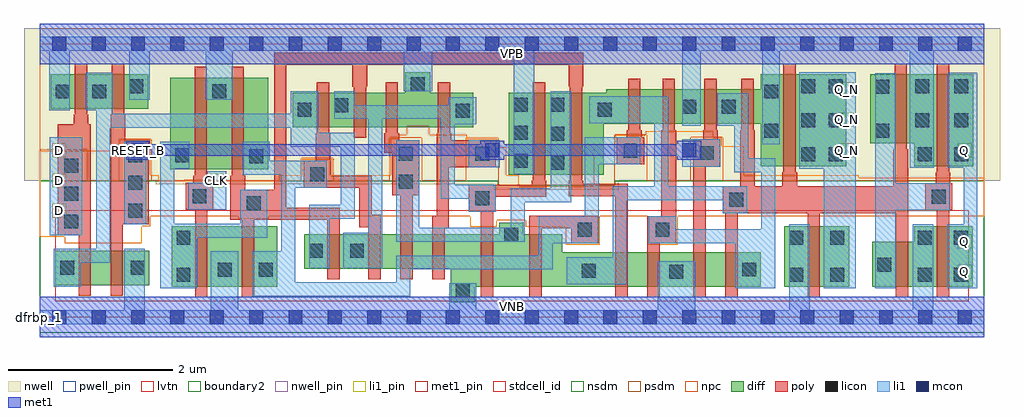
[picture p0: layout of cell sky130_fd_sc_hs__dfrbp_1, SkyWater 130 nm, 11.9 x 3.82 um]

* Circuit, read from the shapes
.subckt sky130_fd_sc_hs__dfrbp_1 CLK D Q Q_N RESET_B VGND VNB VPB VPWR
XM1 n1 D n2 VNB sky130_fd_pr__nfet_01v8_lvt w=0.42 l=0.15
XM2 VGND RESET_B n1 VNB sky130_fd_pr__nfet_01v8_lvt w=0.42 l=0.15
XM3 VGND CLK n3 VNB sky130_fd_pr__nfet_01v8_lvt w=0.74 l=0.15
XM4 n4 n3 VGND VNB sky130_fd_pr__nfet_01v8_lvt w=0.74 l=0.15
XM5 n5 n3 n2 VNB sky130_fd_pr__nfet_01v8_lvt w=0.42 l=0.15
XM6 n6 n4 n5 VNB sky130_fd_pr__nfet_01v8_lvt w=0.42 l=0.15
XM7 n7 n8 n6 VNB sky130_fd_pr__nfet_01v8_lvt w=0.42 l=0.15
XM8 VGND RESET_B n7 VNB sky130_fd_pr__nfet_01v8_lvt w=0.42 l=0.15
XM9 n8 n5 VGND VNB sky130_fd_pr__nfet_01v8_lvt w=0.64 l=0.15
XM10 n9 n4 n8 VNB sky130_fd_pr__nfet_01v8_lvt w=0.64 l=0.15
XM11 n10 n3 n9 VNB sky130_fd_pr__nfet_01v8_lvt w=0.42 l=0.15
XM12 VGND n11 n10 VNB sky130_fd_pr__nfet_01v8_lvt w=0.42 l=0.15
XM13 n12 RESET_B VGND VNB sky130_fd_pr__nfet_01v8_lvt w=0.42 l=0.15
XM14 n11 n9 n12 VNB sky130_fd_pr__nfet_01v8_lvt w=0.42 l=0.15
XM15 Q_N n9 VGND VNB sky130_fd_pr__nfet_01v8_lvt w=0.74 l=0.15
XM16 VGND n9 n13 VNB sky130_fd_pr__nfet_01v8_lvt w=0.55 l=0.15
XM17 Q n13 VGND VNB sky130_fd_pr__nfet_01v8_lvt w=0.74 l=0.15
XM18 n2 D VPWR VPB sky130_fd_pr__pfet_01v8 w=0.42 l=0.15
XM19 VPWR RESET_B n2 VPB sky130_fd_pr__pfet_01v8 w=0.42 l=0.15
XM20 VPWR CLK n3 VPB sky130_fd_pr__pfet_01v8 w=1.12 l=0.15
XM21 n4 n3 VPWR VPB sky130_fd_pr__pfet_01v8 w=1.12 l=0.15
XM22 n5 n4 n2 VPB sky130_fd_pr__pfet_01v8 w=0.42 l=0.15
XM23 n14 n3 n5 VPB sky130_fd_pr__pfet_01v8 w=0.42 l=0.15
XM24 VPWR n8 n14 VPB sky130_fd_pr__pfet_01v8 w=0.42 l=0.15
XM25 n5 RESET_B VPWR VPB sky130_fd_pr__pfet_01v8 w=0.42 l=0.15
XM26 n8 n5 VPWR VPB sky130_fd_pr__pfet_01v8 w=1 l=0.15
XM27 n9 n3 n8 VPB sky130_fd_pr__pfet_01v8 w=1 l=0.15
XM28 n15 n4 n9 VPB sky130_fd_pr__pfet_01v8 w=0.42 l=0.15
XM29 VPWR n11 n15 VPB sky130_fd_pr__pfet_01v8 w=0.42 l=0.15
XM30 n11 RESET_B VPWR VPB sky130_fd_pr__pfet_01v8 w=0.42 l=0.15
XM31 VPWR n9 n11 VPB sky130_fd_pr__pfet_01v8 w=0.42 l=0.15
XM32 Q_N n9 VPWR VPB sky130_fd_pr__pfet_01v8 w=1.12 l=0.15
XM33 VPWR n9 n13 VPB sky130_fd_pr__pfet_01v8 w=0.84 l=0.15
XM34 Q n13 VPWR VPB sky130_fd_pr__pfet_01v8 w=1.12 l=0.15
.ends

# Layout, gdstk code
import gdstk
lib = gdstk.Library(unit=1e-6, precision=1e-09)
def R(c, l, rs):  # rectangles x0, y0, x1, y1
    for r in rs: c.add(gdstk.rectangle(r[:2], r[2:], *l))
def A(c, l, x, y, w, h, nx, ny, dx, dy):  # array of equal rectangles
    R(c, l, [(x+i*dx, y+j*dy, x+i*dx+w, y+j*dy+h) for i in range(nx) for j in range(ny)])
def P(c, l, *ps):  # polygons
    for p in ps: c.add(gdstk.Polygon(p, *l))
nwell_pin = (64, 16)
nwell = (64, 20)
diff = (65, 20)
poly = (66, 20)
licon = (66, 44)
li1_pin = (67, 16)
li1 = (67, 20)
mcon = (67, 44)
met1_pin = (68, 16)
met1 = (68, 20)
stdcell_id = (81, 4)
nsdm = (93, 44)
psdm = (94, 20)
npc = (95, 20)
pwell_pin = (122, 16)
lvtn = (125, 44)
boundary2 = (236, 0)

sky130_fd_sc_hs__dfrbp_1 = lib.new_cell('sky130_fd_sc_hs__dfrbp_1')
R(sky130_fd_sc_hs__dfrbp_1, nwell_pin, [(0,3.085,11.52,3.33)])
P(sky130_fd_sc_hs__dfrbp_1, nwell, [(11.71,3.52),(-0.19,3.52),(-0.19,1.66),(1.415,1.66),(1.415,1.62),(5.54,1.62),(5.54,1.555),(7.06,1.555),(7.06,1.66),(11.71,1.66)])
R(sky130_fd_sc_hs__dfrbp_1, diff, [(1.61,0.37,2.9,1.11), (9.08,0.37,9.87,1.11), (0.19,0.39,1.34,0.81), (1.595,1.8,2.785,2.92), (0.135,2.54,1.325,2.96)])
P(sky130_fd_sc_hs__dfrbp_1, diff, [(5.285,2.735),(4.765,2.735),(4.765,2.985),(4.46,2.985),(4.46,2.735),(3.085,2.735),(3.085,2.315),(5.285,2.315)],
  [(8.795,0.79),(6.37,0.79),(6.37,1.01),(5.895,1.01),(5.895,1.15),(5.605,1.15),(5.605,1.01),(3.225,1.01),(3.225,0.59),(5.015,0.59),(5.015,0.18),(5.305,0.18),(5.305,0.37),(8.795,0.37)],
  [(9.835,2.96),(8.795,2.96),(8.795,2.775),(6.91,2.775),(6.91,2.735),(5.72,2.735),(5.72,1.735),(6.88,1.735),(6.88,2.355),(8.795,2.355),(8.795,1.84),(9.835,1.84)],
  [(11.375,1.11),(10.665,1.11),(10.665,0.92),(10.155,0.92),(10.155,0.37),(11.375,0.37)],
  [(11.385,2.96),(10.13,2.96),(10.13,2.12),(10.665,2.12),(10.665,1.84),(11.385,1.84)])
P(sky130_fd_sc_hs__dfrbp_1, poly, [(11.13,1.63),(11.105,1.63),(11.105,1.765),(11.09,1.765),(11.09,3.09),(10.94,3.09),(10.94,1.765),(10.925,1.765),(10.925,1.63),(10.8,1.63),(10.8,1.3),(10.94,1.3),(10.94,0.24),(11.09,0.24),(11.09,1.3),(11.13,1.3)],
  [(10.59,2.045),(10.575,2.045),(10.575,3.09),(10.425,3.09),(10.425,2.045),(10.41,2.045),(10.41,1.595),(9.235,1.595),(9.235,1.765),(9.22,1.765),(9.22,3.09),(9.07,3.09),(9.07,1.765),(9.055,1.765),(9.055,1.595),(8.72,1.595),(8.72,2.28),(8.705,2.28),(8.705,2.905),(8.555,2.905),(8.555,2.28),(8.54,2.28),(8.54,1.595),(8.33,1.595),(8.33,1.265),(8.36,1.265),(8.36,0.24),(8.51,0.24),(8.51,1.265),(9.365,1.265),(9.365,0.24),(9.515,0.24),(9.515,1.265),(10.44,1.265),(10.44,0.24),(10.59,0.24)],
  [(8.3,2.165),(8.27,2.165),(8.27,2.28),(8.255,2.28),(8.255,2.905),(8.105,2.905),(8.105,2.28),(8.09,2.28),(8.09,2.165),(7.97,2.165),(7.97,0.24),(8.12,0.24),(8.12,1.835),(8.3,1.835)],
  [(7.76,2.28),(7.745,2.28),(7.745,2.905),(7.595,2.905),(7.595,2.28),(7.58,2.28),(7.58,1.23),(7.41,1.23),(7.41,0.24),(7.56,0.24),(7.56,0.9),(7.76,0.9)],
  [(7.37,2.195),(7.34,2.195),(7.34,2.28),(7.325,2.28),(7.325,2.905),(7.175,2.905),(7.175,2.28),(7.16,2.28),(7.16,2.195),(7.04,2.195),(7.04,1.865),(7.37,1.865)],
  [(7.17,1.625),(6.63,1.625),(6.63,1.66),(6.615,1.66),(6.615,2.81),(6.63,2.81),(6.63,3.225),(2.86,3.225),(2.86,1.55),(2.505,1.55),(2.505,1.725),(2.49,1.725),(2.49,3.05),(2.34,3.05),(2.34,1.725),(2.325,1.725),(2.325,1.185),(2.465,1.185),(2.465,0.24),(2.615,0.24),(2.615,1.185),(3.51,1.185),(3.51,0.46),(3.66,0.46),(3.66,1.335),(3.01,1.335),(3.01,3.075),(3.815,3.075),(3.815,2.81),(3.83,2.81),(3.83,2.185),(3.98,2.185),(3.98,2.81),(3.995,2.81),(3.995,3.075),(6.45,3.075),(6.45,2.81),(6.465,2.81),(6.465,1.66),(6.45,1.66),(6.45,1.475),(7.02,1.475),(7.02,0.24),(7.17,0.24)],
  [(6.81,1.235),(5.97,1.235),(5.97,0.24),(6.12,0.24),(6.12,1.085),(6.48,1.085),(6.48,0.9),(6.81,0.9)],
  [(6.18,1.66),(6.165,1.66),(6.165,2.865),(6.015,2.865),(6.015,1.66),(6,1.66),(6,1.615),(5.23,1.615),(5.23,1.285),(5.38,1.285),(5.38,0.24),(5.53,0.24),(5.53,1.285),(5.56,1.285),(5.56,1.465),(6.18,1.465)],
  [(5.56,2.155),(5.02,2.155),(5.02,2.24),(5.005,2.24),(5.005,2.865),(4.855,2.865),(4.855,2.24),(4.84,2.24),(4.84,1.235),(4.79,1.235),(4.79,0.46),(4.94,0.46),(4.94,1.085),(4.99,1.085),(4.99,1.825),(5.56,1.825)],
  [(4.63,2.155),(4.385,2.155),(4.385,2.24),(4.37,2.24),(4.37,2.865),(4.22,2.865),(4.22,2.24),(4.205,2.24),(4.205,2.005),(4.3,2.005),(4.3,1.485),(4.4,1.485),(4.4,0.46),(4.55,0.46),(4.55,1.485),(4.63,1.485)],
  [(4.16,1.245),(4.05,1.245),(4.05,1.725),(3.55,1.725),(3.55,1.905),(3.545,1.905),(3.545,2.24),(3.53,2.24),(3.53,2.865),(3.38,2.865),(3.38,2.24),(3.365,2.24),(3.365,1.905),(3.22,1.905),(3.22,1.575),(3.9,1.575),(3.9,1.095),(4.01,1.095),(4.01,0.46),(4.16,0.46)],
  [(2.115,1.64),(2.055,1.64),(2.055,1.725),(2.04,1.725),(2.04,3.05),(1.89,3.05),(1.89,1.725),(1.875,1.725),(1.875,1.64),(1.785,1.64),(1.785,1.31),(1.895,1.31),(1.895,0.24),(2.045,0.24),(2.045,1.31),(2.115,1.31)],
  [(1.33,2.14),(1.045,2.14),(1.045,2.465),(1.03,2.465),(1.03,3.09),(0.88,3.09),(0.88,2.465),(0.865,2.465),(0.865,0.26),(1.015,0.26),(1.015,1.13),(1.33,1.13)],
  [(0.625,2.35),(0.595,2.35),(0.595,2.465),(0.58,2.465),(0.58,3.09),(0.43,3.09),(0.43,2.465),(0.415,2.465),(0.415,2.35),(0.22,2.35),(0.22,1),(0.475,1),(0.475,0.26),(0.625,0.26)])
A(sky130_fd_sc_hs__dfrbp_1, licon, 0.3, 1.08, 0.17, 0.17, 1, 3, 0, 0.34)
A(sky130_fd_sc_hs__dfrbp_1, licon, 1.08, 1.21, 0.17, 0.17, 1, 3, 0, 0.34)
A(sky130_fd_sc_hs__dfrbp_1, licon, 6.23, 1.795, 0.17, 0.17, 1, 3, 0, 0.355)
A(sky130_fd_sc_hs__dfrbp_1, licon, 9.285, 1.9, 0.17, 0.17, 1, 3, 0, 0.415)
A(sky130_fd_sc_hs__dfrbp_1, licon, 9.625, 1.9, 0.17, 0.17, 1, 3, 0, 0.415)
A(sky130_fd_sc_hs__dfrbp_1, licon, 11.155, 1.9, 0.17, 0.17, 1, 3, 0, 0.415)
R(sky130_fd_sc_hs__dfrbp_1, licon, [(5.075,0.24,5.245,0.41), (1.67,0.43,1.84,0.6), (9.14,0.43,9.31,0.6), (9.64,0.43,9.81,0.6), (10.705,0.43,10.875,0.6), (11.145,0.43,11.315,0.6), (7.68,0.47,7.85,0.64), (6.61,0.48,6.78,0.65), (2.17,0.49,2.34,0.66), (2.67,0.49,2.84,0.66), (8.565,0.495,8.735,0.665), (0.25,0.515,0.42,0.685), (1.11,0.515,1.28,0.685), (10.215,0.555,10.385,0.725), (3.285,0.725,3.455,0.895), (3.785,0.725,3.955,0.895), (1.67,0.88,1.84,1.05), (9.14,0.88,9.31,1.05), (9.64,0.88,9.81,1.05), (10.705,0.88,10.875,1.05), (11.145,0.88,11.315,1.05), (5.665,0.92,5.835,1.09), (6.56,0.98,6.73,1.15), (7.51,0.98,7.68,1.15), (2.525,1.3,2.695,1.47), (8.41,1.345,8.58,1.515), (5.31,1.365,5.48,1.535), (10.88,1.38,11.05,1.55), (1.865,1.39,2.035,1.56), (4.38,1.565,4.55,1.735), (3.3,1.655,3.47,1.825), (5.78,1.82,5.95,1.99), (2.555,1.875,2.725,2.045), (1.655,1.89,1.825,2.06), (10.705,1.9,10.875,2.07), (4.38,1.905,4.55,2.075), (5.31,1.905,5.48,2.075), (8.05,1.915,8.22,2.085), (7.12,1.945,7.29,2.115), (5.78,2.16,5.95,2.33), (8.835,2.185,9.005,2.355), (10.19,2.185,10.36,2.355), (10.675,2.315,10.845,2.485), (5.075,2.43,5.245,2.6), (3.145,2.44,3.315,2.61), (6.805,2.445,6.975,2.615), (7.835,2.48,8.005,2.65), (8.32,2.48,8.49,2.65), (3.595,2.5,3.765,2.67), (5.78,2.505,5.95,2.675), (0.195,2.665,0.365,2.835), (0.645,2.665,0.815,2.835), (8.835,2.665,9.005,2.835), (2.105,2.67,2.275,2.84), (10.19,2.725,10.36,2.895), (1.095,2.73,1.265,2.9), (10.675,2.73,10.845,2.9), (4.525,2.755,4.695,2.925)])
A(sky130_fd_sc_hs__dfrbp_1, li1_pin, 0.155, 1.21, 0.17, 0.17, 1, 3, 0, 0.37)
A(sky130_fd_sc_hs__dfrbp_1, li1_pin, 9.755, 1.95, 0.17, 0.17, 1, 3, 0, 0.37)
R(sky130_fd_sc_hs__dfrbp_1, li1_pin, [(11.195,0.47,11.365,0.64), (11.195,0.84,11.365,1.01), (2.075,1.58,2.245,1.75), (11.195,1.95,11.365,2.12)])
R(sky130_fd_sc_hs__dfrbp_1, li1, [(0.125,1,0.52,2.195), (1.03,1.13,1.3,2.14), (5.23,1.825,5.61,2.155), (7.835,1.835,8.3,2.165)])
P(sky130_fd_sc_hs__dfrbp_1, li1, [(2.275,1.78),(2.045,1.78),(2.045,1.64),(1.81,1.64),(1.81,1.31),(2.275,1.31)],
  [(2.775,1.55),(2.445,1.55),(2.445,1.14),(1.64,1.14),(1.64,1.81),(1.825,1.81),(1.825,2.14),(1.47,2.14),(1.47,0.35),(1.92,0.35),(1.92,0.97),(2.775,0.97)],
  [(3.84,2.245),(3.395,2.245),(3.395,2.755),(3.065,2.755),(3.065,2.48),(0.895,2.48),(0.895,2.98),(0.565,2.98),(0.565,2.52),(0.69,2.52),(0.69,0.83),(0.17,0.83),(0.17,0.37),(0.5,0.37),(0.5,0.66),(0.86,0.66),(0.86,2.31),(3.065,2.31),(3.065,2.075),(3.67,2.075),(3.67,1.37),(3.285,1.37),(3.285,0.595),(3.535,0.595),(3.535,1.2),(3.84,1.2)],
  [(5.56,1.615),(5.06,1.615),(5.06,2.35),(5.325,2.35),(5.325,2.68),(4.99,2.68),(4.99,2.585),(3.845,2.585),(3.845,2.755),(3.595,2.755),(3.595,2.415),(4.01,2.415),(4.01,1.03),(3.705,1.03),(3.705,0.595),(4.18,0.595),(4.18,2.415),(4.89,2.415),(4.89,1.445),(5.23,1.445),(5.23,1.285),(5.56,1.285)],
  [(6.48,2.755),(6.23,2.755),(6.23,1.57),(5.745,1.57),(5.745,1.09),(4.63,1.09),(4.63,2.155),(4.35,2.155),(4.35,0.92),(5.915,0.92),(5.915,1.4),(6.48,1.4)],
  [(7.325,2.195),(6.65,2.195),(6.65,1.23),(6.085,1.23),(6.085,0.75),(4.35,0.75),(4.35,0.425),(3.115,0.425),(3.115,1.575),(3.5,1.575),(3.5,1.905),(2.805,1.905),(2.805,2.14),(2.475,2.14),(2.475,1.735),(2.945,1.735),(2.945,0.8),(2.59,0.8),(2.59,0.255),(4.52,0.255),(4.52,0.58),(6.255,0.58),(6.255,0.9),(6.82,0.9),(6.82,1.865),(7.325,1.865)],
  [(8.63,1.595),(7.665,1.595),(7.665,2.695),(6.7,2.695),(6.7,2.365),(7.495,2.365),(7.495,1.595),(6.99,1.595),(6.99,0.73),(6.425,0.73),(6.425,0.4),(7.16,0.4),(7.16,1.425),(8.33,1.425),(8.33,1.265),(8.63,1.265)],
  [(8.97,1.935),(8.64,1.935),(8.64,2.73),(8.26,2.73),(8.26,2.335),(8.47,2.335),(8.47,1.765),(8.8,1.765),(8.8,1.07),(7.76,1.07),(7.76,1.23),(7.43,1.23),(7.43,0.9),(8.485,0.9),(8.485,0.35),(8.97,0.35)],
  [(9.95,2.985),(9.26,2.985),(9.26,1.81),(9.56,1.81),(9.56,0.35),(9.95,0.35)],
  [(11.095,1.63),(10.44,1.63),(10.44,2.975),(10.19,2.975),(10.19,0.35),(10.44,0.35),(10.44,1.3),(11.095,1.3)],
  [(11.435,2.98),(11.075,2.98),(11.075,1.82),(11.265,1.82),(11.265,1.13),(11.065,1.13),(11.065,0.35),(11.435,0.35)],
  [(11.52,3.415),(0,3.415),(0,3.245),(0.115,3.245),(0.115,2.52),(0.365,2.52),(0.365,3.245),(1.095,3.245),(1.095,2.65),(1.345,2.65),(1.345,3.245),(2.025,3.245),(2.025,2.65),(2.355,2.65),(2.355,3.245),(4.44,3.245),(4.44,2.755),(4.785,2.755),(4.785,3.245),(5.78,3.245),(5.78,1.74),(6.03,1.74),(6.03,3.245),(7.835,3.245),(7.835,2.335),(8.06,2.335),(8.06,3.245),(8.81,3.245),(8.81,2.105),(9.025,2.105),(9.025,3.245),(10.61,3.245),(10.61,1.82),(10.905,1.82),(10.905,3.245),(11.52,3.245)],
  [(11.52,0.085),(10.895,0.085),(10.895,1.13),(10.645,1.13),(10.645,0.085),(9.39,0.085),(9.39,1.13),(9.14,1.13),(9.14,0.085),(7.995,0.085),(7.995,0.68),(7.535,0.68),(7.535,0.085),(5.325,0.085),(5.325,0.41),(4.995,0.41),(4.995,0.085),(2.42,0.085),(2.42,0.8),(2.09,0.8),(2.09,0.085),(1.28,0.085),(1.28,0.83),(1.03,0.83),(1.03,0.085),(0,0.085),(0,-0.085),(11.52,-0.085)])
A(sky130_fd_sc_hs__dfrbp_1, mcon, 0.155, -0.085, 0.17, 0.17, 24, 2, 0.48, 3.33)
R(sky130_fd_sc_hs__dfrbp_1, mcon, [(1.115,1.95,1.285,2.12), (5.435,1.95,5.605,2.12), (7.835,1.95,8.005,2.12)])
R(sky130_fd_sc_hs__dfrbp_1, met1_pin, [(0,0,11.52,0.245), (1.115,1.95,1.285,2.12), (0,3.085,11.52,3.33)])
R(sky130_fd_sc_hs__dfrbp_1, met1, [(0,-0.245,11.52,0.245), (0,3.085,11.52,3.575)])
P(sky130_fd_sc_hs__dfrbp_1, met1, [(8.065,2.15),(7.775,2.15),(7.775,2.105),(5.665,2.105),(5.665,2.15),(5.375,2.15),(5.375,2.105),(1.345,2.105),(1.345,2.15),(1.055,2.15),(1.055,1.92),(1.345,1.92),(1.345,1.965),(5.375,1.965),(5.375,1.92),(5.665,1.92),(5.665,1.965),(7.775,1.965),(7.775,1.92),(8.065,1.92)])
R(sky130_fd_sc_hs__dfrbp_1, stdcell_id, [(0,0,11.52,3.33)])
P(sky130_fd_sc_hs__dfrbp_1, nsdm, [(11.52,1.66),(7.01,1.66),(7.01,1.605),(5.59,1.605),(5.59,1.66),(0,1.66),(0,-0.19),(11.52,-0.19)])
P(sky130_fd_sc_hs__dfrbp_1, psdm, [(11.52,3.52),(0,3.52),(0,2.04),(0.58,2.04),(0.58,1.66),(0.97,1.66),(0.97,2.17),(1.36,2.17),(1.36,1.66),(1.755,1.66),(1.755,1.67),(2.145,1.67),(2.145,1.66),(3.19,1.66),(3.19,1.935),(3.58,1.935),(3.58,1.66),(4.27,1.66),(4.27,2.185),(4.66,2.185),(4.66,1.66),(5.2,1.66),(5.2,2.185),(5.59,2.185),(5.59,1.605),(7.01,1.605),(7.01,2.225),(7.4,2.225),(7.4,1.66),(7.94,1.66),(7.94,2.195),(8.33,2.195),(8.33,1.66),(11.52,1.66)])
P(sky130_fd_sc_hs__dfrbp_1, npc, [(11.52,1.7),(9.99,1.7),(9.99,1.73),(8.585,1.73),(8.585,2.08),(8.32,2.08),(8.32,2.185),(8.215,2.185),(8.215,2.265),(7.39,2.265),(7.39,2.215),(7.02,2.215),(7.02,2.11),(6.755,2.11),(6.755,1.595),(5.845,1.595),(5.845,1.73),(5.69,1.73),(5.69,2.07),(5.58,2.07),(5.58,2.175),(5.21,2.175),(5.21,2.225),(4.75,2.225),(4.75,2.335),(4.475,2.335),(4.475,2.225),(4.385,2.225),(4.385,2.175),(4.28,2.175),(4.28,1.73),(3.57,1.73),(3.57,1.925),(3.2,1.925),(3.2,1.73),(2.925,1.73),(2.925,1.66),(1.455,1.66),(1.455,1.73),(1.35,1.73),(1.35,2.16),(0.98,2.16),(0.98,2.03),(0,2.03),(0,0.98),(0.305,0.98),(0.305,0.9),(1.245,0.9),(1.245,1.11),(1.35,1.11),(1.35,1.23),(2.425,1.23),(2.425,1.2),(2.795,1.2),(2.795,1.23),(5.25,1.23),(5.25,1.1),(5.575,1.1),(5.575,1.18),(5.925,1.18),(5.925,1.1),(6.415,1.1),(6.415,0.88),(6.83,0.88),(6.83,1.23),(7.41,1.23),(7.41,0.88),(7.78,0.88),(7.78,1.23),(11.52,1.23)])
R(sky130_fd_sc_hs__dfrbp_1, pwell_pin, [(0,0,11.52,0.245)])
R(sky130_fd_sc_hs__dfrbp_1, lvtn, [(0.19,0.19,11.33,1.3)])
R(sky130_fd_sc_hs__dfrbp_1, boundary2, [(0,0,11.52,3.33)])
sky130_fd_sc_hs__dfrbp_1.add(gdstk.Label('dfrbp_1', (0,0), layer=83, texttype=44))
sky130_fd_sc_hs__dfrbp_1.add(gdstk.Label('VNB', (5.76,0.123), layer=64, texttype=59))
sky130_fd_sc_hs__dfrbp_1.add(gdstk.Label('VPB', (5.76,3.208), layer=64, texttype=5))
sky130_fd_sc_hs__dfrbp_1.add(gdstk.Label('RESET_B', (1.2,2.035), layer=68, texttype=5))
sky130_fd_sc_hs__dfrbp_1.add(gdstk.Label('VPWR', (5.76,3.208), layer=68, texttype=5))
sky130_fd_sc_hs__dfrbp_1.add(gdstk.Label('VGND', (5.76,0.123), layer=68, texttype=5))
sky130_fd_sc_hs__dfrbp_1.add(gdstk.Label('Q', (11.28,0.555), layer=67, texttype=5))
sky130_fd_sc_hs__dfrbp_1.add(gdstk.Label('Q', (11.28,0.925), layer=67, texttype=5))
sky130_fd_sc_hs__dfrbp_1.add(gdstk.Label('Q', (11.28,2.035), layer=67, texttype=5))
sky130_fd_sc_hs__dfrbp_1.add(gdstk.Label('CLK', (2.16,1.665), layer=67, texttype=5))
sky130_fd_sc_hs__dfrbp_1.add(gdstk.Label('D', (0.24,1.295), layer=67, texttype=5))
sky130_fd_sc_hs__dfrbp_1.add(gdstk.Label('D', (0.24,1.665), layer=67, texttype=5))
sky130_fd_sc_hs__dfrbp_1.add(gdstk.Label('D', (0.24,2.035), layer=67, texttype=5))
sky130_fd_sc_hs__dfrbp_1.add(gdstk.Label('Q_N', (9.84,2.035), layer=67, texttype=5))
sky130_fd_sc_hs__dfrbp_1.add(gdstk.Label('Q_N', (9.84,2.405), layer=67, texttype=5))
sky130_fd_sc_hs__dfrbp_1.add(gdstk.Label('Q_N', (9.84,2.775), layer=67, texttype=5))

lib.write_gds('sky130_fd_sc_hs__dfrbp_1.gds')
